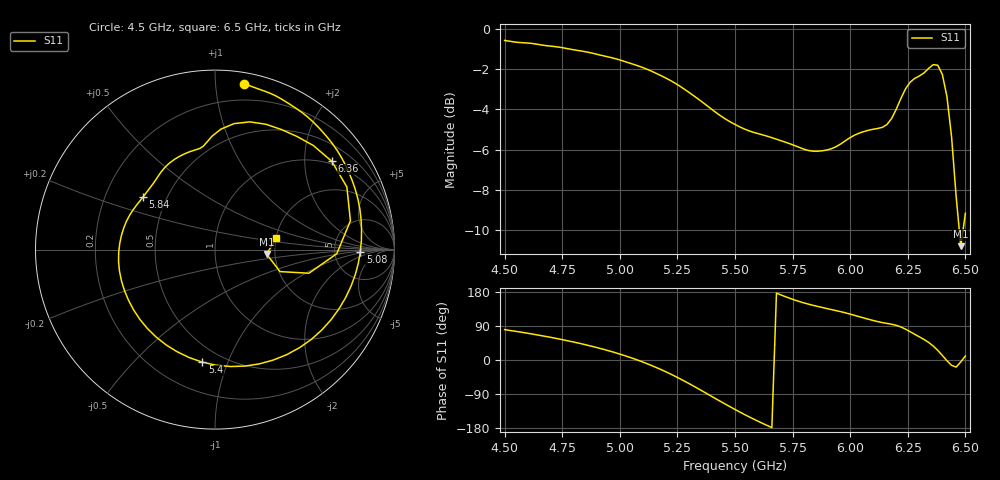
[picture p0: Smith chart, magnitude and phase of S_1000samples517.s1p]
! TOUCHSTONE file generated by CST MICROWAVE STUDIO
! Date and time: Fri Oct 28 10:49:33 2022
! Project name: L.cst
! Parameters = {Di=1.27; Epsilon_r=1.56; InnerDiameter=1.27; Length=2; Lf=10; Lg=60; OuterConductorThickness=0.2921; OuterDiameter=3.6; Wf=3; Wp=41.2; de=1.5; df=6.8; g=0.8; gx=4.8036; gy=1.19429; h=2.34; hf=1.524; px=11.9825; py=12.2875; w=9.7; wx=7.1789; wy=11.0932}
! Header version: 2018
! Port assignment regex: !\s*Touchstone port\s*([0-9]+)\s*=\s*(CST MWS port|CST DS port)\s*([0-9]+|Zmin|Zmax)\s*\(\"(.*)\"\)(\s*mode\s*([0-9]+))?.*
! Touchstone port assignment:
! Touchstone port 1 = CST MWS port 1 ("")
# GHz S DB R 50
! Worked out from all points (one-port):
!   101 points, 4.5 GHz to 6.5 GHz, reference 50 ohm
!   lowest |S11| = -10.8 dB at 6.48 GHz (marker M1), VSWR 1.81, Z = 90.1 - j4.87 ohm
!   |S11| at or under -10 dB: 6.473443 GHz to 6.489853 GHz (16.41 MHz wide, 0.253 % of centre)
!   S11 on the Smith chart (normalised r, x): 4.5 GHz: 0.08, +1.19; 5.08 GHz: 9.48, -0.63; 5.4 GHz: 0.39, -0.81; 5.84 GHz: 0.37, +0.28; 6.36 GHz: 0.92, +2.70; 6.5 GHz: 2.01, +0.29
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4.5  -0.56 80.1
4.62  -0.71 68.5
4.76  -0.94 52.5
4.88  -1.20 35.9
5  -1.53 15.6
5.08  -1.83 -0.8
5.18  -2.32 -25.6
5.26  -2.83 -49.2
5.34  -3.48 -75.6
5.4  -4.00 -96.4
5.5  -4.75 -130.5
5.56  -5.06 -149.6
5.62  -5.26 -167.3
5.76  -5.80 158.1
5.84  -6.08 144.1
6  -5.40 121.1
6.14  -4.89 98.7
6.2  -3.98 91.5
6.26  -2.64 74.8
6.32  -2.18 54.3
6.36  -1.77 37.1
6.38  -1.79 25.4
6.4  -2.25 12.0
6.42  -3.36 -1.9
6.44  -5.36 -14.1
6.46  -8.35 -18.7
6.48  -10.81 -4.9
6.5  -9.17 10.5
